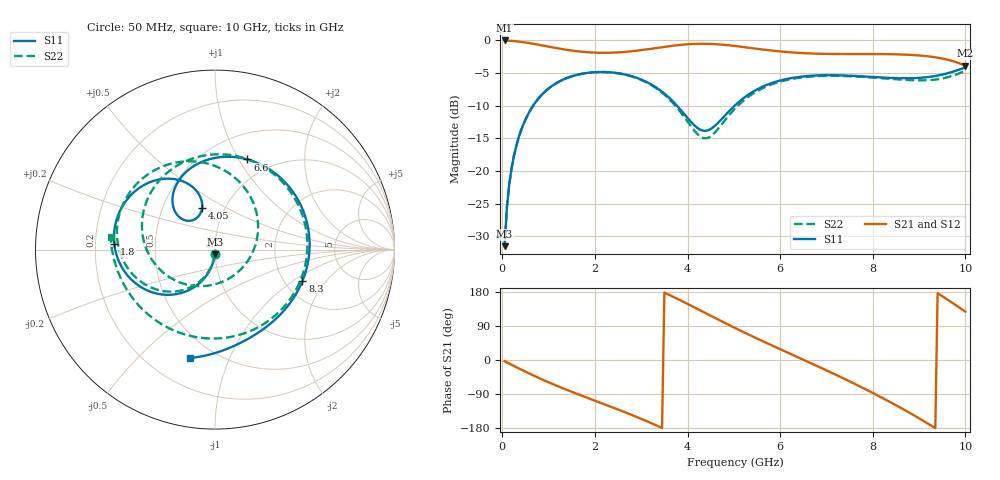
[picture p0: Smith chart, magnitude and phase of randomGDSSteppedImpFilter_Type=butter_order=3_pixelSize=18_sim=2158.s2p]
! freq	dB(S11)	phase(S11)	dB(S12)	phase(S12)
!  dB(S21)	phase(S21)	dB(S22)	phase(S22)
!S-par simulation data
#  GHz  S  DB  R 50
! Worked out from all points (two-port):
!   200 points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, 50 MHz to 10 GHz, reference 50 ohm
!   highest |S21| = -0.01 dB at 50 MHz (marker M1); lowest = -3.9 dB at 10 GHz (marker M2)
!   |S21| within 3 dB of the highest: start of sweep to 9.643 GHz
!   lowest |S11| = -31.5 dB at 50 MHz (marker M3), VSWR 1.05, Z = 49.8 - j2.64 ohm
!   |S11| at or under -10 dB: start of sweep to 667.1 MHz; 3.771 GHz to 5.018 GHz (1.248 GHz wide, 28.4 % of centre)
!   |S22| runs from -31.5 to -4.6 dB; largest |S21 - S12| = 0
!   S11 on the Smith chart (normalised r, x): 50 MHz: 1.00, -0.05; 1.8 GHz: 0.28, +0.03; 4.05 GHz: 0.78, +0.39; 6.6 GHz: 0.77, +1.09; 8.3 GHz: 2.49, -1.19; 10 GHz: 0.37, -0.72
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0.05  -31.53 -93.1  -0.01 -3.2  -0.01 -3.2  -31.54 -93.3
0.1  -25.54 -96.3  -0.02 -6.3  -0.02 -6.3  -25.54 -96.8
0.2  -19.61 -102.5  -0.07 -12.6  -0.07 -12.6  -19.62 -103.6
0.5  -12.14 -120.0  -0.32 -30.8  -0.32 -30.8  -12.14 -122.6
1.05  -7.10 -149.1  -1.02 -61.5  -1.02 -61.5  -7.11 -154.7
1.75  -5.07 179.0  -1.76 -95.8  -1.76 -95.8  -5.08 168.5
1.8  -5.01 176.8  -1.79 -98.2  -1.79 -98.2  -5.02 166.0
2.7  -5.30 140.5  -1.73 -140.3  -1.73 -140.3  -5.34 118.7
3.4  -7.60 114.8  -1.09 -176.6  -1.09 -176.6  -7.72 73.1
4.05  -12.29 107.3  -0.57 145.0  -0.57 145.0  -12.93 5.8
4.45  -13.75 126.9  -0.53 120.0  -0.53 120.0  -14.91 -67.7
5.05  -9.79 135.1  -0.88 83.0  -0.88 83.0  -10.27 -152.6
5.75  -6.71 110.3  -1.50 42.5  -1.50 42.5  -6.93 152.4
6.6  -5.45 70.2  -1.98 -4.8  -1.98 -4.8  -5.58 99.4
6.7  -5.40 65.2  -2.01 -10.3  -2.01 -10.3  -5.53 93.3
7.6  -5.44 17.9  -2.09 -62.4  -2.09 -62.4  -5.52 37.9
8.3  -5.72 -19.8  -2.10 -106.1  -2.10 -106.1  -5.85 -10.7
8.35  -5.74 -22.4  -2.11 -109.3  -2.11 -109.3  -5.88 -14.5
8.9  -5.78 -50.4  -2.25 -146.7  -2.25 -146.7  -6.11 -61.1
9.3  -5.51 -69.5  -2.53 -176.0  -2.53 -176.0  -6.04 -102.0
9.65  -4.96 -85.9  -3.02 156.5  -3.02 156.5  -5.58 -143.0
10  -4.14 -103.2  -3.88 127.4  -3.88 127.4  -4.64 172.9
